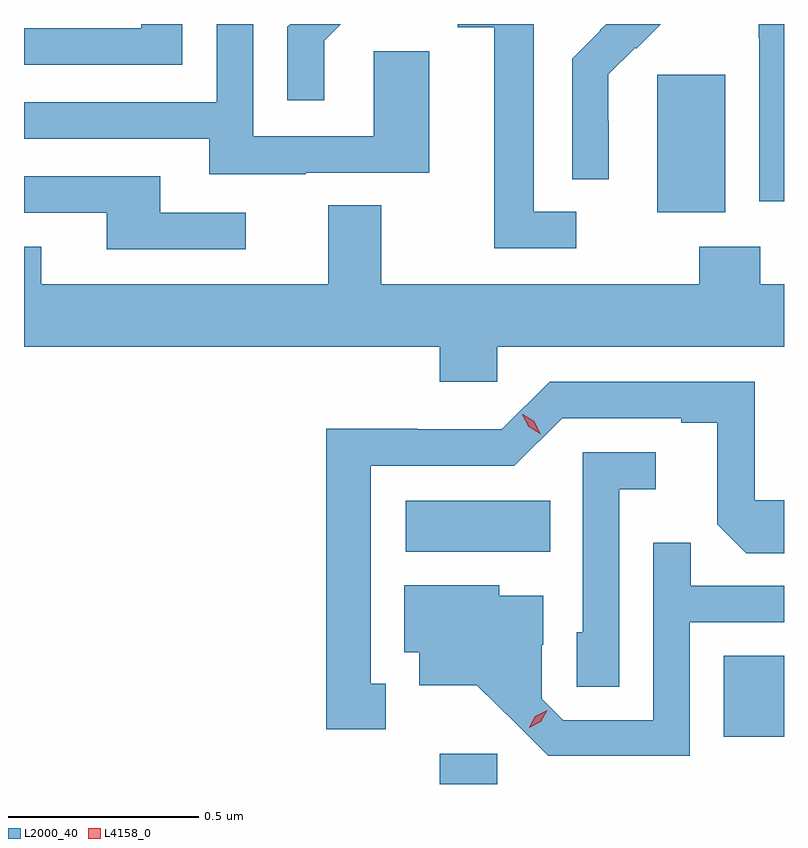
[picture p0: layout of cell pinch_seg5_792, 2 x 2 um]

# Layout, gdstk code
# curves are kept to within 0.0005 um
import gdstk
lib = gdstk.Library(unit=1e-6, precision=1e-09)
def R(c, l, rs):  # rectangles x0, y0, x1, y1
    for r in rs: c.add(gdstk.rectangle(r[:2], r[2:], *l))
def P(c, l, *ps):  # polygons
    for p in ps: c.add(gdstk.Polygon(p, *l))
L2000_40 = (2000, 40)
L4158_0 = (4158, 0)

pinch_seg5_792 = lib.new_cell('pinch_seg5_792')
R(pinch_seg5_792, L2000_40, [(797.693,908.889,797.844,908.968), (798.44,909.014,798.599,909.226), (797.604,909.5,797.984,909.634), (798.266,910.394,798.445,910.755)])
P(pinch_seg5_792, L2000_40, [(797.341,910.497),(797.665,910.497),(797.665,910.817),(797.52,910.817),(797.52,910.593),(797.202,910.593),(797.202,910.889),(797.106,910.889),(797.106,910.683),(796.599,910.683),(796.599,910.587),(797.087,910.587),(797.087,910.493),(797.341,910.493)],
  [(797.389,910.845),(797.433,910.889),(797.299,910.889),(797.292,910.882),(797.292,910.689),(797.389,910.689)],
  [(798.052,910.395),(797.941,910.395),(797.941,910.889),(797.741,910.889),(797.741,910.88),(797.837,910.88),(797.837,910.299),(798.052,910.299)],
  [(797.016,910.889),(796.907,910.889),(796.907,910.878),(796.599,910.878),(796.599,910.782),(797.016,910.782)],
  [(798.138,910.634),(798.137,910.634),(798.137,910.757),(798.207,910.827),(798.21,910.824),(798.275,910.889),(798.131,910.889),(798.114,910.872),(798.115,910.871),(798.042,910.798),(798.042,910.48),(798.138,910.48)],
  [(798.599,910.889),(798.532,910.889),(798.532,910.852),(798.534,910.852),(798.534,910.423),(798.599,910.423)],
  [(797.182,910.392),(796.957,910.392),(796.957,910.488),(796.599,910.488),(796.599,910.392),(796.817,910.392),(796.817,910.296),(797.182,910.296)],
  [(797.844,910.04),(798.599,910.04),(798.599,910.204),(798.536,910.204),(798.536,910.303),(798.376,910.303),(798.376,910.204),(797.539,910.204),(797.539,910.412),(797.399,910.412),(797.399,910.204),(796.645,910.204),(796.645,910.303),(796.599,910.303),(796.599,910.04),(797.693,910.04),(797.693,909.947),(797.844,909.947)],
  [(797.551,909.153),(797.512,909.153),(797.512,909.726),(797.889,909.726),(798.015,909.852),(798.329,909.852),(798.329,909.84),(798.423,909.84),(798.423,909.572),(798.499,909.496),(798.599,909.496),(798.599,909.636),(798.522,909.636),(798.522,909.948),(797.982,909.948),(797.856,909.822),(797.634,909.822),(797.634,909.824),(797.394,909.824),(797.394,909.033),(797.551,909.033)],
  [(798.165,909.665),(798.262,909.665),(798.262,909.762),(798.069,909.762),(798.069,909.288),(798.054,909.288),(798.054,909.145),(798.165,909.145)],
  [(798.351,909.315),(798.599,909.315),(798.599,909.411),(798.353,909.411),(798.353,909.524),(798.255,909.524),(798.255,909.057),(798.018,909.057),(797.961,909.114),(797.961,909.256),(797.965,909.256),(797.965,909.385),(797.85,909.385),(797.85,909.412),(797.6,909.412),(797.6,909.236),(797.639,909.236),(797.639,909.149),(797.791,909.149),(797.978,908.964),(798.351,908.964)])
P(pinch_seg5_792, L4158_0, [(797.928,909.037),(797.928,909.038),(797.945,909.067),(797.976,909.083),(797.976,909.083),(797.976,909.083),(797.959,909.053),(797.928,909.037)],
  [(797.959,909.81),(797.927,909.829),(797.91,909.861),(797.91,909.862),(797.911,909.862),(797.942,909.843),(797.959,909.81),(797.959,909.81)])

lib.write_gds('pinch_seg5_792.gds')
